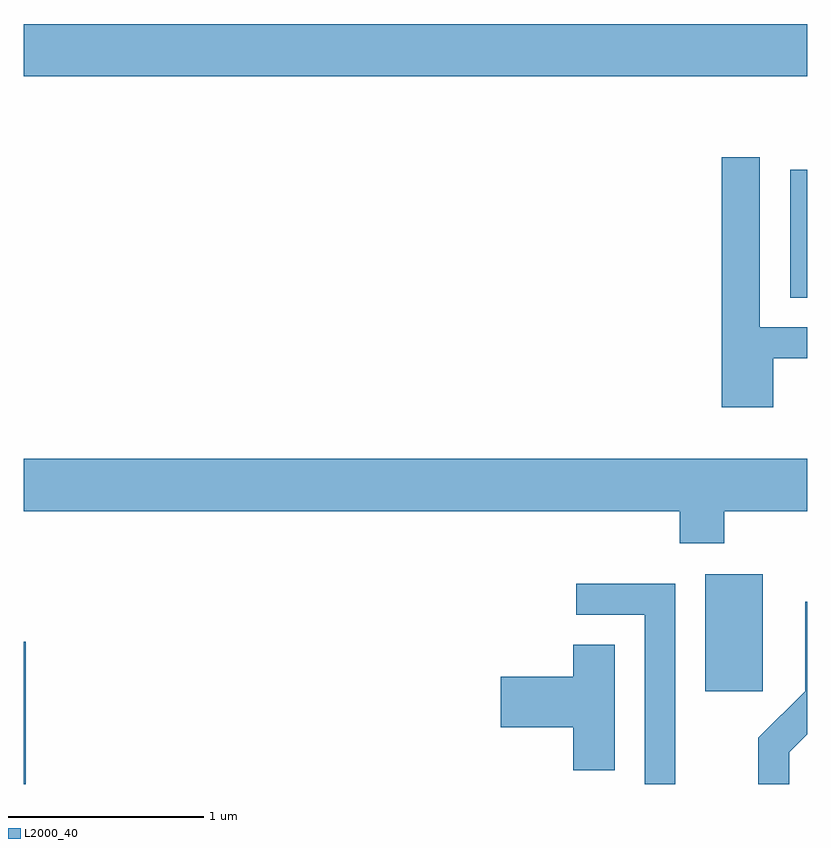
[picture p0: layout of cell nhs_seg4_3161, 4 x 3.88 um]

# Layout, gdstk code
import gdstk
lib = gdstk.Library(unit=1e-6, precision=1e-09)
def R(c, l, rs):  # rectangles x0, y0, x1, y1
    for r in rs: c.add(gdstk.rectangle(r[:2], r[2:], *l))
def P(c, l, *ps):  # polygons
    for p in ps: c.add(gdstk.Polygon(p, *l))
L2000_40 = (2000, 40)

nhs_seg4_3161 = lib.new_cell('nhs_seg4_3161')
R(nhs_seg4_3161, L2000_40, [(277.611,1319.982,277.619,1320.709), (281.091,1320.456,281.384,1321.054), (281.526,1322.466,281.611,1323.119), (277.611,1323.596,281.611,1323.864)])
P(nhs_seg4_3161, L2000_40, [(281.439,1322.156),(281.611,1322.156),(281.611,1322.314),(281.369,1322.314),(281.369,1323.184),(281.176,1323.184),(281.176,1321.906),(281.439,1321.906)],
  [(281.189,1321.376),(281.611,1321.376),(281.611,1321.644),(277.611,1321.644),(277.611,1321.376),(280.961,1321.376),(280.961,1321.211),(281.189,1321.211)],
  [(280.939,1321.004),(280.433,1321.004),(280.433,1320.846),(280.781,1320.846),(280.781,1319.982),(280.939,1319.982)],
  [(281.519,1320.144),(281.611,1320.236),(281.611,1320.913),(281.601,1320.913),(281.601,1320.457),(281.361,1320.217),(281.361,1319.982),(281.519,1319.982)],
  [(280.629,1320.694),(280.416,1320.694),(280.416,1320.529),(280.046,1320.529),(280.046,1320.271),(280.416,1320.271),(280.416,1320.051),(280.629,1320.051)])

lib.write_gds('nhs_seg4_3161.gds')
